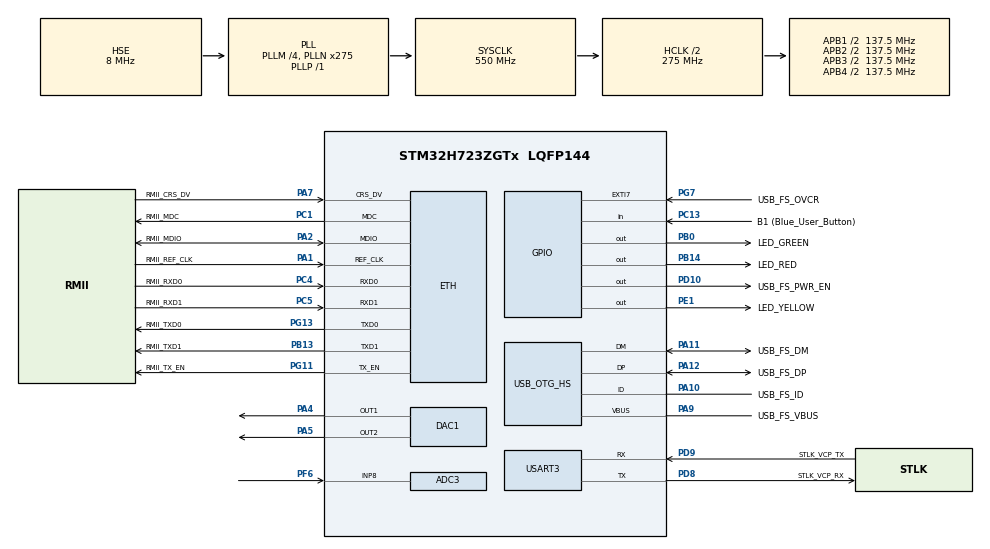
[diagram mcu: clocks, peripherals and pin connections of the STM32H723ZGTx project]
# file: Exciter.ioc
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ADC3.Channel-0\#ChannelRegularConversion=ADC_CHANNEL_8
ADC3.DMAContinuousRequests=ENABLE
ADC3.ExternalTrigConv=ADC_EXTERNALTRIG_T6_TRGO
ADC3.NbrOfConversionFlag=1
ADC3.OffsetNumber-0\#ChannelRegularConversion=ADC_OFFSET_NONE
ADC3.OffsetSign-0\#ChannelRegularConversion=ADC3_OFFSET_SIGN_NEGATIVE
ADC3.Rank-0\#ChannelRegularConversion=1
ADC3.SamplingTime-0\#ChannelRegularConversion=ADC3_SAMPLETIME_2CYCLES_5
DAC1.DAC_Channel-DAC_OUT1=DAC_CHANNEL_1
DAC1.DAC_Channel-DAC_OUT2=DAC_CHANNEL_2
DAC1.DAC_Trigger-DAC_OUT1=DAC_TRIGGER_T6_TRGO
DAC1.DAC_Trigger-DAC_OUT2=DAC_TRIGGER_T6_TRGO
Dma.ADC3.0.Direction=DMA_PERIPH_TO_MEMORY
Dma.ADC3.0.EventEnable=DISABLE
Dma.ADC3.0.FIFOMode=DMA_FIFOMODE_DISABLE
Dma.ADC3.0.Instance=DMA1_Stream0
Dma.ADC3.0.MemDataAlignment=DMA_MDATAALIGN_WORD
Dma.ADC3.0.MemInc=DMA_MINC_ENABLE
Dma.ADC3.0.Mode=DMA_CIRCULAR
Dma.ADC3.0.PeriphDataAlignment=DMA_PDATAALIGN_WORD
Dma.ADC3.0.PeriphInc=DMA_PINC_DISABLE
Dma.ADC3.0.Polarity=HAL_DMAMUX_REQ_GEN_RISING
Dma.ADC3.0.Priority=DMA_PRIORITY_HIGH
Dma.ADC3.0.RequestNumber=1
Dma.ADC3.0.SignalID=NONE
Dma.ADC3.0.SyncEnable=DISABLE
Dma.ADC3.0.SyncPolarity=HAL_DMAMUX_SYNC_NO_EVENT
Dma.ADC3.0.SyncRequestNumber=1
Dma.ADC3.0.SyncSignalID=NONE
Dma.DAC1_CH1.1.Direction=DMA_MEMORY_TO_PERIPH
Dma.DAC1_CH1.1.EventEnable=DISABLE
Dma.DAC1_CH1.1.FIFOMode=DMA_FIFOMODE_DISABLE
Dma.DAC1_CH1.1.Instance=DMA1_Stream1
Dma.DAC1_CH1.1.MemDataAlignment=DMA_MDATAALIGN_WORD
Dma.DAC1_CH1.1.MemInc=DMA_MINC_ENABLE
Dma.DAC1_CH1.1.Mode=DMA_CIRCULAR
Dma.DAC1_CH1.1.PeriphDataAlignment=DMA_PDATAALIGN_WORD
Dma.DAC1_CH1.1.PeriphInc=DMA_PINC_DISABLE
Dma.DAC1_CH1.1.Polarity=HAL_DMAMUX_REQ_GEN_RISING
Dma.DAC1_CH1.1.Priority=DMA_PRIORITY_HIGH
Dma.DAC1_CH1.1.RequestNumber=1
Dma.DAC1_CH1.1.SignalID=NONE
Dma.DAC1_CH1.1.SyncEnable=DISABLE
Dma.DAC1_CH1.1.SyncPolarity=HAL_DMAMUX_SYNC_NO_EVENT
Dma.DAC1_CH1.1.SyncRequestNumber=1
Dma.DAC1_CH1.1.SyncSignalID=NONE
Dma.DAC1_CH2.2.Direction=DMA_MEMORY_TO_PERIPH
Dma.DAC1_CH2.2.EventEnable=DISABLE
Dma.DAC1_CH2.2.FIFOMode=DMA_FIFOMODE_DISABLE
Dma.DAC1_CH2.2.Instance=DMA1_Stream2
Dma.DAC1_CH2.2.MemDataAlignment=DMA_MDATAALIGN_WORD
Dma.DAC1_CH2.2.MemInc=DMA_MINC_ENABLE
Dma.DAC1_CH2.2.Mode=DMA_CIRCULAR
Dma.DAC1_CH2.2.PeriphDataAlignment=DMA_PDATAALIGN_WORD
Dma.DAC1_CH2.2.PeriphInc=DMA_PINC_DISABLE
Dma.DAC1_CH2.2.Polarity=HAL_DMAMUX_REQ_GEN_RISING
Dma.DAC1_CH2.2.Priority=DMA_PRIORITY_LOW
Dma.DAC1_CH2.2.RequestNumber=1
Dma.DAC1_CH2.2.SignalID=NONE
Dma.DAC1_CH2.2.SyncEnable=DISABLE
Dma.DAC1_CH2.2.SyncPolarity=HAL_DMAMUX_SYNC_NO_EVENT
Dma.DAC1_CH2.2.SyncRequestNumber=1
Dma.DAC1_CH2.2.SyncSignalID=NONE
Dma.Request0=ADC3
Dma.Request1=DAC1_CH1
Dma.Request2=DAC1_CH2
ETH.MediaInterface=HAL_ETH_RMII_MODE
Mcu.Family=STM32H7
Mcu.Name=STM32H723ZGTx
Mcu.Package=LQFP144
NVIC.DMA1_Stream0_IRQn=true\:0\:0\:false\:false\:true\:false\:true\:true
NVIC.DMA1_Stream1_IRQn=true\:0\:0\:false\:false\:true\:false\:true\:true
NVIC.DMA1_Stream2_IRQn=true\:0\:0\:false\:false\:true\:false\:true\:true
NVIC.PriorityGroup=NVIC_PRIORITYGROUP_4
PA1.GPIO_Label=RMII_REF_CLK
PA1.Mode=RMII
PA1.Signal=ETH_REF_CLK
PA10.GPIO_Label=USB_FS_ID
PA10.Mode=OTG/Dual-Role-Device-FS
PA10.Signal=USB_OTG_HS_ID
PA11.GPIO_Label=USB_FS_DM
PA11.Mode=OTG/Dual-Role-Device-FS
PA11.Signal=USB_OTG_HS_DM
PA12.GPIO_Label=USB_FS_DP
PA12.Mode=OTG/Dual-Role-Device-FS
PA12.Signal=USB_OTG_HS_DP
PA13(JTMS/SWDIO).GPIO_Label=SWDIO
PA13(JTMS/SWDIO).Mode=Trace_Asynchronous_SW
PA13(JTMS/SWDIO).Signal=DEBUG_JTMS-SWDIO
PA14(JTCK/SWCLK).GPIO_Label=SWCLK
PA14(JTCK/SWCLK).Mode=Trace_Asynchronous_SW
PA14(JTCK/SWCLK).Signal=DEBUG_JTCK-SWCLK
PA2.GPIO_Label=RMII_MDIO
PA2.Mode=RMII
PA2.Signal=ETH_MDIO
PA4.Signal=COMP_DAC11_group
PA5.Signal=COMP_DAC12_group
PA7.GPIO_Label=RMII_CRS_DV
PA7.Mode=RMII
PA7.Signal=ETH_CRS_DV
PA9.GPIO_Label=USB_FS_VBUS
PA9.Mode=Activate_VBUS_FS
PA9.Signal=USB_OTG_HS_VBUS
PB0.GPIO_Label=LED_GREEN
PB0.Signal=GPIO_Output
PB13.GPIO_Label=RMII_TXD1
PB13.Mode=RMII
PB13.Signal=ETH_TXD1
PB14.GPIO_Label=LED_RED
PB14.Signal=GPIO_Output
PB3(JTDO/TRACESWO).GPIO_Label=SWO
PB3(JTDO/TRACESWO).Mode=Trace_Asynchronous_SW
PB3(JTDO/TRACESWO).Signal=DEBUG_JTDO-SWO
PC1.GPIO_Label=RMII_MDC
PC1.Mode=RMII
PC1.Signal=ETH_MDC
PC13.GPIO_Label=B1 (Blue_User_Button)
PC13.Signal=GPIO_Input
PC14-OSC32_IN.Mode=LSE-External-Oscillator
PC14-OSC32_IN.Signal=RCC_OSC32_IN
PC15-OSC32_OUT.Mode=LSE-External-Oscillator
PC15-OSC32_OUT.Signal=RCC_OSC32_OUT
PC4.GPIO_Label=RMII_RXD0
PC4.Mode=RMII
PC4.Signal=ETH_RXD0
PC5.GPIO_Label=RMII_RXD1
PC5.Mode=RMII
PC5.Signal=ETH_RXD1
PD10.GPIO_Label=USB_FS_PWR_EN
PD10.Signal=GPIO_Output
PD8.GPIO_Label=STLK_VCP_RX
PD8.Mode=Asynchronous
PD8.Signal=USART3_TX
PD9.GPIO_Label=STLK_VCP_TX
PD9.Mode=Asynchronous
PD9.Signal=USART3_RX
PE1.GPIO_Label=LED_YELLOW
PE1.Signal=GPIO_Output
PF6.Mode=IN8-Single-Ended
PF6.Signal=ADC3_INP8
PG11.GPIO_Label=RMII_TX_EN
PG11.Mode=RMII
PG11.Signal=ETH_TX_EN
PG13.GPIO_Label=RMII_TXD0
PG13.Mode=RMII
PG13.Signal=ETH_TXD0
PG7.GPIO_Label=USB_FS_OVCR
PG7.Signal=GPXTI7
PH0-OSC_IN.GPIO_Label=MCO
PH0-OSC_IN.Mode=HSE-External-Clock-Source
PH0-OSC_IN.Signal=RCC_OSC_IN
PH1-OSC_OUT.Signal=RCC_OSC_OUT
ProjectManager.HeapSize=0x200
ProjectManager.StackSize=0x400
ProjectManager.TargetToolchain=STM32CubeIDE
RCC.ADCFreq_Value=96000000
RCC.APB1Freq_Value=137500000
RCC.APB2Freq_Value=137500000
RCC.APB3Freq_Value=137500000
RCC.APB4Freq_Value=137500000
RCC.CortexFreq_Value=550000000
RCC.D1PPRE=RCC_APB3_DIV2
RCC.D2PPRE1=RCC_APB1_DIV2
RCC.D2PPRE2=RCC_APB2_DIV2
RCC.D3PPRE=RCC_APB4_DIV2
RCC.DIVM1=4
RCC.DIVM2=1
RCC.DIVN1=275
RCC.DIVN2=24
RCC.DIVP1=1
RCC.DIVQ1=4
RCC.HCLKFreq_Value=275000000
RCC.HPRE=RCC_HCLK_DIV2
RCC.HSE_VALUE=8000000
RCC.PLLFRACN=0
RCC.PLLSourceVirtual=RCC_PLLSOURCE_HSE
RCC.SYSCLKFreq_VALUE=550000000
RCC.SYSCLKSource=RCC_SYSCLKSOURCE_PLLCLK
RCC.USBCLockSelection=RCC_USBCLKSOURCE_HSI48
RCC.USBFreq_Value=48000000
SH.COMP_DAC11_group.0=DAC1_OUT1,DAC_OUT1
SH.COMP_DAC12_group.0=DAC1_OUT2,DAC_OUT2
TIM6.Period=6236-1
TIM6.TIM_MasterOutputTrigger=TIM_TRGO_UPDATE
USART3.VirtualMode-Asynchronous=VM_ASYNC
VP_TIM6_VS_ClockSourceINT.Mode=Enable_Timer
board=NUCLEO-H723ZG

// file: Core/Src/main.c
/* USER CODE BEGIN Header */
/**
  ******************************************************************************
  * @file           : main.c
  * @brief          : Main program body
  ******************************************************************************
  * @attention
  *
  * Copyright (c) 2023 STMicroelectronics.
  * All rights reserved.
  *
  * This software is licensed under terms that can be found in the LICENSE file
  * in the root directory of this software component.
  * If no LICENSE file comes with this software, it is provided AS-IS.
  *
  ******************************************************************************
  */
/* USER CODE END Header */
#include "main.h"
#include "adc.h"
#include "dac.h"
#include "dma.h"
#include "eth.h"
#include "tim.h"
#include "usart.h"
#include "usb_otg.h"
#include "gpio.h"

/* USER CODE BEGIN Includes */
#include <stdlib.h>
#include "arm_math.h"
#include "fir.h"
#include "fir_coeffs_361Taps_44100_200_3000.h"
/* USER CODE END Includes */

/* USER CODE BEGIN PTD */
enum AdcDmaState {
	FILLING_FIRST_HALF, FILLING_SECOND_HALF
};
/* USER CODE END PTD */

/* USER CODE BEGIN PD */
#define IO_BUFFER_SIZE 8192
#define IO_BUFFER_HALF_SIZE IO_BUFFER_SIZE / 2
#define SAMPLE_RATE 44100
#define MAX_VALUE_FROM_ADC 0x0FFF
/* USER CODE END PD */

/* USER CODE BEGIN PV */
static uint32_t g_adcBuffer[IO_BUFFER_SIZE];
static uint32_t g_dacBuffer1[IO_BUFFER_SIZE];
static uint32_t g_dacBuffer2[IO_BUFFER_SIZE];

static float32_t g_inputBuffer[IO_BUFFER_HALF_SIZE];
static float32_t g_iBuffer[IO_BUFFER_HALF_SIZE];
static float32_t g_qBuffer[IO_BUFFER_HALF_SIZE];
static float32_t g_tmpBuffer1[IO_BUFFER_HALF_SIZE];
static float32_t g_tmpBuffer2[IO_BUFFER_HALF_SIZE];

static arm_fir_instance_f32 g_filterFir1;
static float32_t g_filterFir1State[FILTER_TAP_NUM + IO_BUFFER_HALF_SIZE - 1];
static arm_fir_instance_f32 g_filterFir2;
static float32_t g_filterFir2State[FILTER_TAP_NUM + IO_BUFFER_HALF_SIZE - 1];

static arm_fir_instance_f32 g_delayFir;
static float32_t g_delayFirState[HILBERT_AND_DELAY_FILTERS_TAP_NUM + IO_BUFFER_HALF_SIZE - 1];

static arm_fir_instance_f32 g_hilbertFir;
static float32_t g_hilbertFirState[HILBERT_AND_DELAY_FILTERS_TAP_NUM + IO_BUFFER_HALF_SIZE - 1];

static volatile enum AdcDmaState g_adcDmaState = FILLING_FIRST_HALF;
static volatile int g_isDspPerformed = 0;
/* USER CODE END PV */

void SystemClock_Config(void);

/* USER CODE BEGIN 0 */
void HAL_ADC_ConvHalfCpltCallback(ADC_HandleTypeDef *hadc)
{
	g_adcDmaState = FILLING_SECOND_HALF;
	g_isDspPerformed = 0;
}

void HAL_ADC_ConvCpltCallback(ADC_HandleTypeDef *hadc)
{
	g_adcDmaState = FILLING_FIRST_HALF;
	g_isDspPerformed = 0;
}

static void performDsp()
{
	if (!g_isDspPerformed) {
		g_isDspPerformed = 1;

		uint32_t currentDacIndex1 = __HAL_DMA_GET_COUNTER(hdac1.DMA_Handle1);
		uint32_t currentDacIndex2 = __HAL_DMA_GET_COUNTER(hdac1.DMA_Handle2);

		switch (g_adcDmaState) {
		case FILLING_FIRST_HALF:
			for (int i = 0; i < IO_BUFFER_HALF_SIZE; i++) {
				//g_iBuffer[i] = g_adcBuffer[IO_BUFFER_HALF_SIZE + i];
				g_inputBuffer[i] = g_adcBuffer[IO_BUFFER_HALF_SIZE + i];
				//g_qBuffer[i] = MAX_VALUE_FROM_ADC - g_adcBuffer[IO_BUFFER_HALF_SIZE + i];
			}
			break;

		case FILLING_SECOND_HALF:
			for (int i = 0; i < IO_BUFFER_HALF_SIZE; i++) {
				//g_iBuffer[i] = g_adcBuffer[i];
				g_inputBuffer[i] = g_adcBuffer[i];
				//g_qBuffer[i] = MAX_VALUE_FROM_ADC - g_adcBuffer[i];
			}
			break;
		}

		arm_fir_f32(&g_filterFir1, g_inputBuffer, g_tmpBuffer1, IO_BUFFER_HALF_SIZE);

		arm_fir_f32(&g_delayFir, g_tmpBuffer1, g_iBuffer, IO_BUFFER_HALF_SIZE);
		arm_fir_f32(&g_hilbertFir, g_tmpBuffer1, g_qBuffer, IO_BUFFER_HALF_SIZE);

		//arm_fir_f32(&g_filterFir1, g_tmpBuffer1, g_iBuffer, IO_BUFFER_HALF_SIZE);
		for (int i = 0; i < IO_BUFFER_HALF_SIZE; i++) {
			g_iBuffer[i] += MAX_VALUE_FROM_ADC / 2;
		}

		for (int i = 0; i < IO_BUFFER_HALF_SIZE; i++) {
			g_qBuffer[i] += MAX_VALUE_FROM_ADC / 2;
		}

		/*arm_fir_f32(&g_delayFir, g_inputBuffer, g_tmpBuffer1, IO_BUFFER_HALF_SIZE);
		arm_fir_f32(&g_hilbertFir, g_inputBuffer, g_tmpBuffer2, IO_BUFFER_HALF_SIZE);

		arm_fir_f32(&g_filterFir1, g_tmpBuffer1, g_iBuffer, IO_BUFFER_HALF_SIZE);
		for (int i = 0; i < IO_BUFFER_HALF_SIZE; i++) {
			g_iBuffer[i] += MAX_VALUE_FROM_ADC / 2;
		}

		arm_fir_f32(&g_filterFir2, g_tmpBuffer2, g_qBuffer, IO_BUFFER_HALF_SIZE);
		for (int i = 0; i < IO_BUFFER_HALF_SIZE; i++) {
			g_qBuffer[i] += MAX_VALUE_FROM_ADC / 2;
		}*/

		for (int i = 0; i < IO_BUFFER_HALF_SIZE; i++) {
			int dstDacIndex1 = currentDacIndex1 + IO_BUFFER_HALF_SIZE + i;
			if (dstDacIndex1 >= IO_BUFFER_SIZE) {
				dstDacIndex1 -= IO_BUFFER_SIZE;
			}

			int dstDacIndex2 = currentDacIndex2 + IO_BUFFER_HALF_SIZE + i;
			if (dstDacIndex2 >= IO_BUFFER_SIZE) {
				dstDacIndex2 -= IO_BUFFER_SIZE;
			}

			g_dacBuffer1[dstDacIndex1] = g_iBuffer[i];
			g_dacBuffer2[dstDacIndex2] = g_qBuffer[i];
		}
	}
}
/* USER CODE END 0 */

int main(void)
{

  /* MCU Configuration--------------------------------------------------------*/

  /* Reset of all peripherals, Initializes the Flash interface and the Systick. */
  HAL_Init();

  /* Configure the system clock */
  SystemClock_Config();

  /* Initialize all configured peripherals */
  MX_GPIO_Init();
  MX_DMA_Init();
  MX_USART3_UART_Init();
  MX_USB_OTG_HS_USB_Init();
  MX_TIM6_Init();
  MX_ADC3_Init();
  MX_ETH_Init();
  MX_DAC1_Init();
  /* USER CODE BEGIN 2 */
  HAL_TIM_Base_Start(&htim6);
  HAL_ADC_Start_DMA(&hadc3, g_adcBuffer, IO_BUFFER_SIZE);
  HAL_DAC_Start_DMA(&hdac1, DAC1_CHANNEL_1, g_dacBuffer1, IO_BUFFER_SIZE, DAC_ALIGN_12B_R);
  HAL_DAC_Start_DMA(&hdac1, DAC1_CHANNEL_2, g_dacBuffer2, IO_BUFFER_SIZE, DAC_ALIGN_12B_R);

  arm_fir_init_f32(&g_filterFir1, FILTER_TAP_NUM, filter_taps, g_filterFir1State, IO_BUFFER_HALF_SIZE);
  arm_fir_init_f32(&g_filterFir2, FILTER_TAP_NUM, filter_taps, g_filterFir2State, IO_BUFFER_HALF_SIZE);
  arm_fir_init_f32(&g_delayFir, HILBERT_AND_DELAY_FILTERS_TAP_NUM, coeffs_delay_361, g_delayFirState, IO_BUFFER_HALF_SIZE);
  arm_fir_init_f32(&g_hilbertFir, HILBERT_AND_DELAY_FILTERS_TAP_NUM, coeffs_hilbert_361Taps_44100_200_3000, g_hilbertFirState, IO_BUFFER_HALF_SIZE);
  /* USER CODE END 2 */

  /* Infinite loop */
  /* USER CODE BEGIN WHILE */
  while (1)
  {
	  performDsp();
    /* USER CODE END WHILE */

  }
}

void SystemClock_Config(void)
{
  RCC_OscInitTypeDef RCC_OscInitStruct = {0};
  RCC_ClkInitTypeDef RCC_ClkInitStruct = {0};

  /** Supply configuration update enable
  */
  HAL_PWREx_ConfigSupply(PWR_LDO_SUPPLY);

  /** Configure the main internal regulator output voltage
  */
  __HAL_PWR_VOLTAGESCALING_CONFIG(PWR_REGULATOR_VOLTAGE_SCALE0);

  while(!__HAL_PWR_GET_FLAG(PWR_FLAG_VOSRDY)) {}

  /** Initializes the RCC Oscillators according to the specified parameters
  * in the RCC_OscInitTypeDef structure.
  */
  RCC_OscInitStruct.OscillatorType = RCC_OSCILLATORTYPE_HSI48|RCC_OSCILLATORTYPE_HSE;
  RCC_OscInitStruct.HSEState = RCC_HSE_BYPASS;
  RCC_OscInitStruct.HSI48State = RCC_HSI48_ON;
  RCC_OscInitStruct.PLL.PLLState = RCC_PLL_ON;
  RCC_OscInitStruct.PLL.PLLSource = RCC_PLLSOURCE_HSE;
  RCC_OscInitStruct.PLL.PLLM = 4;
  RCC_OscInitStruct.PLL.PLLN = 275;
  RCC_OscInitStruct.PLL.PLLP = 1;
  RCC_OscInitStruct.PLL.PLLQ = 4;
  RCC_OscInitStruct.PLL.PLLR = 2;
  RCC_OscInitStruct.PLL.PLLRGE = RCC_PLL1VCIRANGE_1;
  RCC_OscInitStruct.PLL.PLLVCOSEL = RCC_PLL1VCOWIDE;
  RCC_OscInitStruct.PLL.PLLFRACN = 0;
  if (HAL_RCC_OscConfig(&RCC_OscInitStruct) != HAL_OK)
  {
    Error_Handler();
  }

  /** Initializes the CPU, AHB and APB buses clocks
  */
  RCC_ClkInitStruct.ClockType = RCC_CLOCKTYPE_HCLK|RCC_CLOCKTYPE_SYSCLK
                              |RCC_CLOCKTYPE_PCLK1|RCC_CLOCKTYPE_PCLK2
                              |RCC_CLOCKTYPE_D3PCLK1|RCC_CLOCKTYPE_D1PCLK1;
  RCC_ClkInitStruct.SYSCLKSource = RCC_SYSCLKSOURCE_PLLCLK;
  RCC_ClkInitStruct.SYSCLKDivider = RCC_SYSCLK_DIV1;
  RCC_ClkInitStruct.AHBCLKDivider = RCC_HCLK_DIV2;
  RCC_ClkInitStruct.APB3CLKDivider = RCC_APB3_DIV2;
  RCC_ClkInitStruct.APB1CLKDivider = RCC_APB1_DIV2;
  RCC_ClkInitStruct.APB2CLKDivider = RCC_APB2_DIV2;
  RCC_ClkInitStruct.APB4CLKDivider = RCC_APB4_DIV2;

  if (HAL_RCC_ClockConfig(&RCC_ClkInitStruct, FLASH_LATENCY_3) != HAL_OK)
  {
    Error_Handler();
  }
}

void Error_Handler(void)
{
  __disable_irq();
  while (1)
  {
  }
}
